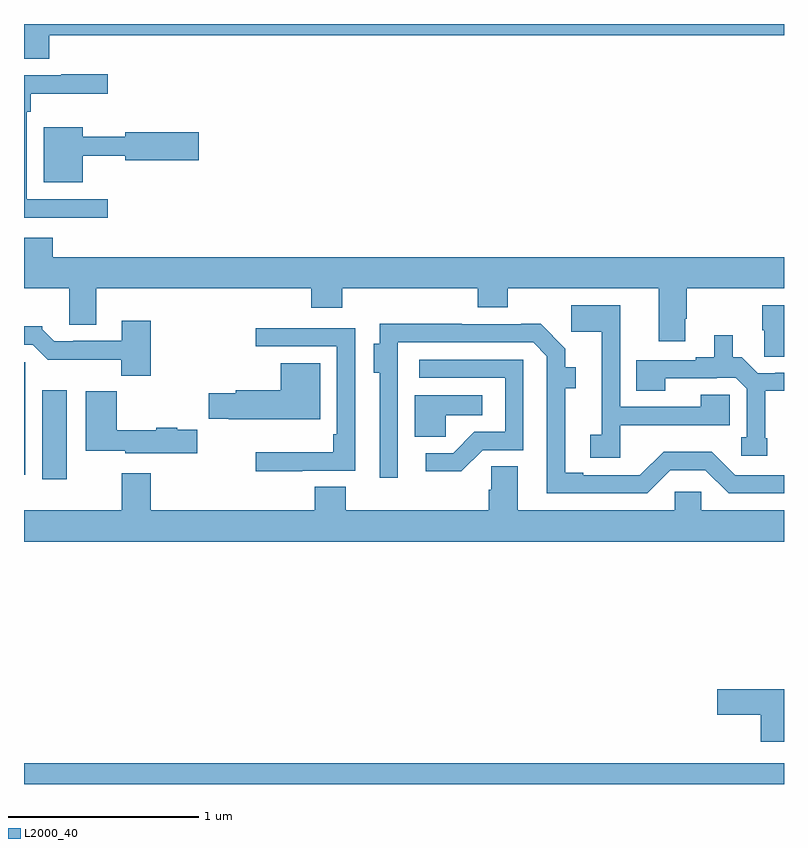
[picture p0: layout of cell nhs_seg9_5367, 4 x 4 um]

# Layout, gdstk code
import gdstk
lib = gdstk.Library(unit=1e-6, precision=1e-09)
def R(c, l, rs):  # rectangles x0, y0, x1, y1
    for r in rs: c.add(gdstk.rectangle(r[:2], r[2:], *l))
def P(c, l, *ps):  # polygons
    for p in ps: c.add(gdstk.Polygon(p, *l))
L2000_40 = (2000, 40)

nhs_seg9_5367 = lib.new_cell('nhs_seg9_5367')
R(nhs_seg9_5367, L2000_40, [(423,1172.5,427,1172.608), (423.095,1174.104,423.226,1174.573), (423,1174.128,423.007,1174.719)])
P(nhs_seg9_5367, L2000_40, [(423.134,1176.44),(427,1176.44),(427,1176.5),(423,1176.5),(423,1176.316),(423.134,1176.316)],
  [(423.442,1175.577),(423.015,1175.577),(423.015,1176.038),(423.035,1176.038),(423.035,1176.134),(423.442,1176.134),(423.442,1176.235),(423.197,1176.235),(423.197,1176.231),(423,1176.231),(423,1175.481),(423.442,1175.481)],
  [(423.31,1175.806),(423.534,1175.806),(423.534,1175.783),(423.919,1175.783),(423.919,1175.93),(423.534,1175.93),(423.534,1175.907),(423.31,1175.907),(423.31,1175.956),(423.104,1175.956),(423.104,1175.666),(423.31,1175.666)],
  [(426.481,1174.948),(426.489,1174.948),(426.489,1175.108),(427,1175.108),(427,1175.272),(423.152,1175.272),(423.152,1175.374),(423,1175.374),(423,1175.108),(423.239,1175.108),(423.239,1174.918),(423.379,1174.918),(423.379,1175.108),(424.511,1175.108),(424.511,1175.006),(424.676,1175.006),(424.676,1175.108),(425.387,1175.108),(425.387,1175.009),(425.547,1175.009),(425.547,1175.108),(426.341,1175.108),(426.341,1174.83),(426.481,1174.83)],
  [(426.138,1174.388),(426.605,1174.388),(426.605,1174.389),(426.715,1174.389),(426.715,1174.55),(426.562,1174.55),(426.562,1174.485),(426.138,1174.485),(426.138,1175.02),(425.88,1175.02),(425.88,1174.881),(426.041,1174.881),(426.041,1174.338),(425.979,1174.338),(425.979,1174.218),(426.138,1174.218)],
  [(427,1175.019),(426.886,1175.019),(426.886,1174.887),(426.895,1174.887),(426.895,1174.75),(427,1174.75)],
  [(423.668,1174.939),(423.515,1174.939),(423.515,1174.833),(423.259,1174.833),(423.259,1174.83),(423.16,1174.83),(423.096,1174.894),(423.096,1174.909),(423,1174.909),(423,1174.812),(423.045,1174.812),(423.124,1174.734),(423.513,1174.734),(423.513,1174.649),(423.668,1174.649)],
  [(426.402,1174.152),(426.585,1174.152),(426.708,1174.029),(427,1174.029),(427,1174.125),(426.744,1174.125),(426.62,1174.249),(426.366,1174.249),(426.242,1174.125),(425.944,1174.125),(425.944,1174.138),(425.848,1174.138),(425.848,1174.584),(425.905,1174.584),(425.905,1174.694),(425.849,1174.694),(425.849,1174.792),(425.719,1174.922),(425.618,1174.922),(425.618,1174.92),(425.303,1174.92),(425.303,1174.922),(424.872,1174.922),(424.872,1174.816),(424.841,1174.816),(424.841,1174.664),(424.872,1174.664),(424.872,1174.113),(424.968,1174.113),(424.968,1174.824),(425.679,1174.824),(425.751,1174.752),(425.751,1174.029),(426.279,1174.029)],
  [(424.465,1174.149),(424.743,1174.149),(424.743,1174.899),(424.221,1174.899),(424.221,1174.803),(424.647,1174.803),(424.647,1174.342),(424.627,1174.342),(424.627,1174.246),(424.221,1174.246),(424.221,1174.145),(424.465,1174.145)],
  [(426.913,1174.32),(426.9,1174.32),(426.9,1174.569),(427,1174.569),(427,1174.665),(426.955,1174.665),(426.955,1174.662),(426.861,1174.662),(426.777,1174.746),(426.73,1174.746),(426.73,1174.861),(426.632,1174.861),(426.632,1174.746),(426.536,1174.746),(426.536,1174.731),(426.223,1174.731),(426.223,1174.57),(426.375,1174.57),(426.375,1174.635),(426.647,1174.635),(426.647,1174.638),(426.747,1174.638),(426.804,1174.581),(426.804,1174.326),(426.774,1174.326),(426.774,1174.227),(426.913,1174.227)],
  [(425.415,1174.257),(425.628,1174.257),(425.628,1174.734),(425.079,1174.734),(425.079,1174.638),(425.532,1174.638),(425.532,1174.353),(425.37,1174.353),(425.259,1174.242),(425.115,1174.242),(425.115,1174.145),(425.302,1174.145)],
  [(424.558,1174.714),(424.352,1174.714),(424.352,1174.573),(424.115,1174.573),(424.115,1174.556),(423.973,1174.556),(423.973,1174.422),(424.078,1174.422),(424.078,1174.421),(424.558,1174.421)],
  [(423.911,1174.364),(423.806,1174.364),(423.806,1174.376),(423.696,1174.376),(423.696,1174.363),(423.488,1174.363),(423.488,1174.567),(423.326,1174.567),(423.326,1174.253),(423.534,1174.253),(423.534,1174.241),(423.911,1174.241)],
  [(425.221,1174.442),(425.413,1174.442),(425.413,1174.546),(425.057,1174.546),(425.057,1174.328),(425.221,1174.328)],
  [(427,1173.94),(426.564,1173.94),(426.564,1174.038),(426.426,1174.038),(426.426,1173.94),(425.599,1173.94),(425.599,1174.172),(425.46,1174.172),(425.46,1174.049),(425.447,1174.049),(425.447,1173.94),(424.694,1173.94),(424.694,1174.064),(424.529,1174.064),(424.529,1173.94),(423.668,1173.94),(423.668,1174.135),(423.515,1174.135),(423.515,1173.94),(423,1173.94),(423,1173.776),(427,1173.776)],
  [(427,1172.999),(426.648,1172.999),(426.648,1172.864),(426.878,1172.864),(426.878,1172.723),(427,1172.723)])

lib.write_gds('nhs_seg9_5367.gds')
